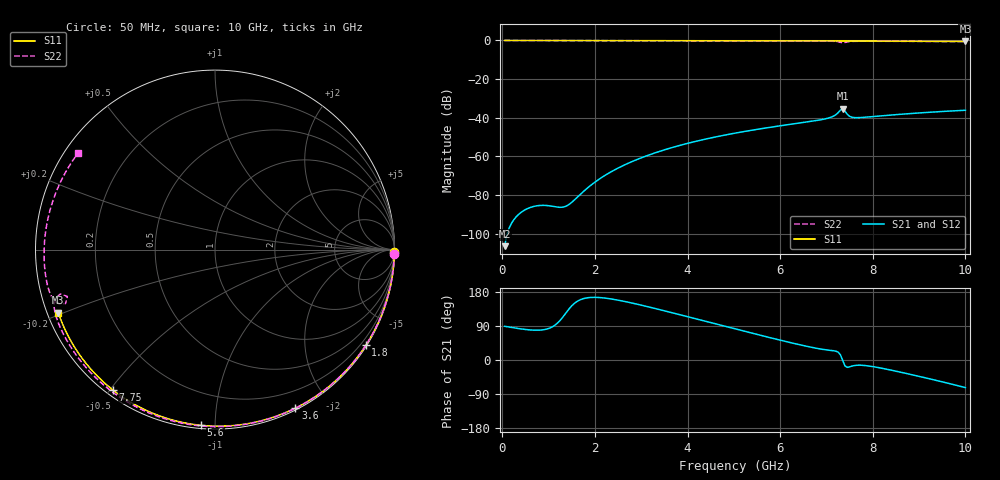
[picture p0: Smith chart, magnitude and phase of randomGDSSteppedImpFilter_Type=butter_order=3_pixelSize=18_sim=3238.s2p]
! freq	dB(S11)	phase(S11)	dB(S12)	phase(S12)
!  dB(S21)	phase(S21)	dB(S22)	phase(S22)
!S-par simulation data
#  GHz  S  DB  R 50
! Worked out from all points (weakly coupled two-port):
!   200 points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, 50 MHz to 10 GHz, reference 50 ohm
!   highest |S21| = -35.34 dB at 7.35 GHz (marker M1); lowest = -106.4 dB at 50 MHz (marker M2)
!   lowest |S11| = -0.5 dB at 10 GHz (marker M3), VSWR 33.04, Z = 1.57 - j9.66 ohm
!   |S11| at or under -10 dB: nowhere
!   |S22| runs from -1.3 to 0.0 dB; largest |S21 - S12| = 0
!   S11 on the Smith chart (normalised r, x): 50 MHz: open; 1.8 GHz: 0.03, -3.44; 3.6 GHz: 0.02, -1.63; 5.6 GHz: 0.02, -0.92; 7.75 GHz: 0.02, -0.51; 10 GHz: 0.03, -0.19
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0.05  -0.00 -0.9  -106.41 89.0  -106.41 89.0  -0.00 -1.3
0.8  -0.02 -14.6  -85.38 78.8  -85.38 78.8  -0.03 -20.5
1.65  -0.04 -29.8  -80.41 157.0  -80.41 157.0  -0.05 -41.8
1.75  -0.04 -31.5  -78.18 161.9  -78.18 161.9  -0.06 -44.3
1.8  -0.04 -32.4  -77.12 163.4  -77.12 163.4  -0.06 -45.5
2.1  -0.05 -37.7  -71.61 164.8  -71.61 164.8  -0.07 -52.7
2.5  -0.06 -44.6  -66.01 157.9  -66.01 157.9  -0.08 -62.2
3.4  -0.08 -59.8  -57.34 132.9  -57.34 132.9  -0.11 -82.6
3.6  -0.08 -63.1  -55.86 126.8  -55.86 126.8  -0.11 -87.0
4.3  -0.11 -74.4  -51.50 104.8  -51.50 104.8  -0.14 -102.0
5.05  -0.13 -86.2  -47.84 81.3  -47.84 81.3  -0.17 -117.4
5.6  -0.16 -94.6  -45.60 64.4  -45.60 64.4  -0.21 -128.3
6.7  -0.22 -110.9  -41.75 32.9  -41.75 32.9  -0.29 -150.1
7.1  -0.24 -116.7  -39.69 25.2  -39.69 25.2  -0.38 -158.8
7.25  -0.25 -118.8  -37.41 21.0  -37.41 21.0  -0.64 -163.0
7.35  -0.26 -120.2  -35.34 -1.1  -35.34 -1.1  -1.28 -162.4
7.4  -0.26 -120.9  -36.54 -15.6  -36.54 -15.6  -1.06 -160.2
7.5  -0.27 -122.4  -39.24 -18.1  -39.24 -18.1  -0.56 -162.1
7.75  -0.29 -126.0  -39.86 -13.8  -39.86 -13.8  -0.40 -168.4
8.35  -0.34 -134.5  -38.66 -25.6  -38.66 -25.6  -0.43 179.2
9.2  -0.43 -146.6  -37.18 -48.9  -37.18 -48.9  -0.51 161.9
10  -0.53 -158.1  -36.11 -72.8  -36.11 -72.8  -0.60 144.8
